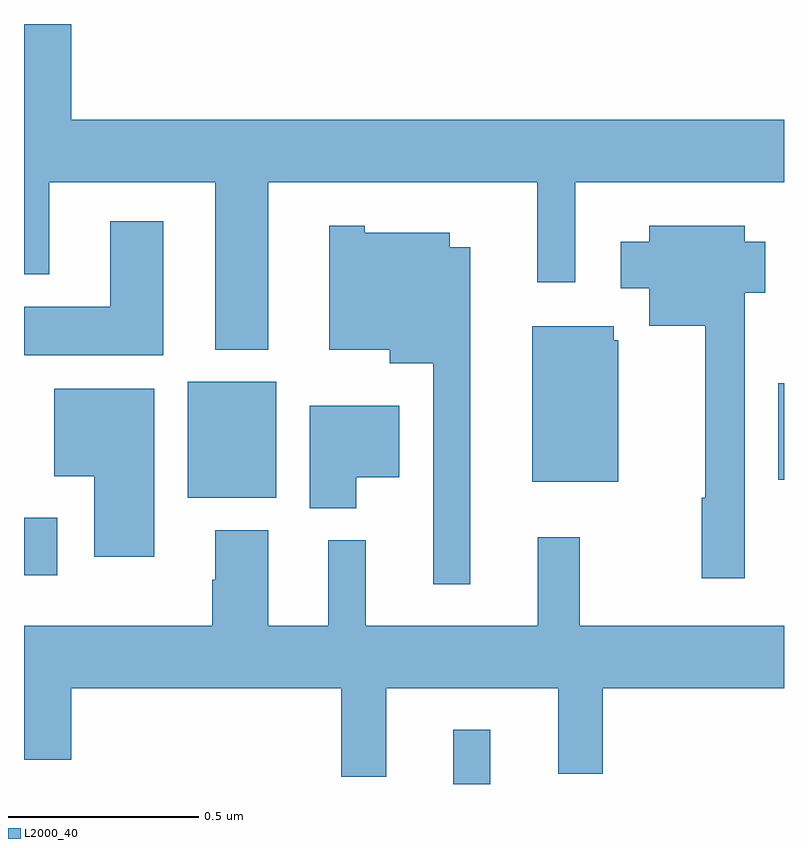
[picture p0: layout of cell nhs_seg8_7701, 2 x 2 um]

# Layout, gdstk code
import gdstk
lib = gdstk.Library(unit=1e-6, precision=1e-09)
def R(c, l, rs):  # rectangles x0, y0, x1, y1
    for r in rs: c.add(gdstk.rectangle(r[:2], r[2:], *l))
def P(c, l, *ps):  # polygons
    for p in ps: c.add(gdstk.Polygon(p, *l))
L2000_40 = (2000, 40)

nhs_seg8_7701 = lib.new_cell('nhs_seg8_7701')
R(nhs_seg8_7701, L2000_40, [(214.13,1130.9,214.227,1131.043), (213,1131.449,213.088,1131.601), (213.431,1131.653,213.664,1131.958), (214.985,1131.701,215,1131.955)])
P(nhs_seg8_7701, L2000_40, [(213.643,1132.484),(214.351,1132.484),(214.351,1132.221),(214.451,1132.221),(214.451,1132.484),(215,1132.484),(215,1132.648),(213.124,1132.648),(213.124,1132.9),(213,1132.9),(213,1132.241),(213.067,1132.241),(213.067,1132.484),(213.503,1132.484),(213.503,1132.043),(213.643,1132.043)],
  [(213.367,1132.381),(213.227,1132.381),(213.227,1132.156),(213,1132.156),(213,1132.028),(213.367,1132.028)],
  [(214.897,1132.193),(214.951,1132.193),(214.951,1132.327),(214.897,1132.327),(214.897,1132.369),(214.646,1132.369),(214.646,1132.327),(214.571,1132.327),(214.571,1132.205),(214.646,1132.205),(214.646,1132.106),(214.793,1132.106),(214.793,1131.653),(214.783,1131.653),(214.783,1131.441),(214.897,1131.441)],
  [(214.174,1132.312),(214.12,1132.312),(214.12,1132.351),(213.897,1132.351),(213.897,1132.369),(213.803,1132.369),(213.803,1132.043),(213.962,1132.043),(213.962,1132.007),(214.077,1132.007),(214.077,1131.426),(214.174,1131.426)],
  [(214.564,1132.068),(214.552,1132.068),(214.552,1132.105),(214.337,1132.105),(214.337,1131.695),(214.564,1131.695)],
  [(213.343,1131.94),(213.08,1131.94),(213.08,1131.71),(213.185,1131.71),(213.185,1131.498),(213.343,1131.498)],
  [(213.874,1131.707),(213.988,1131.707),(213.988,1131.895),(213.752,1131.895),(213.752,1131.626),(213.874,1131.626)],
  [(213.953,1131.152),(214.406,1131.152),(214.406,1130.927),(214.523,1130.927),(214.523,1131.152),(215,1131.152),(215,1131.316),(214.462,1131.316),(214.462,1131.55),(214.352,1131.55),(214.352,1131.316),(213.899,1131.316),(213.899,1131.541),(213.8,1131.541),(213.8,1131.316),(213.643,1131.316),(213.643,1131.568),(213.503,1131.568),(213.503,1131.437),(213.496,1131.437),(213.496,1131.316),(213,1131.316),(213,1130.964),(213.124,1130.964),(213.124,1131.152),(213.835,1131.152),(213.835,1130.919),(213.953,1130.919)])

lib.write_gds('nhs_seg8_7701.gds')
